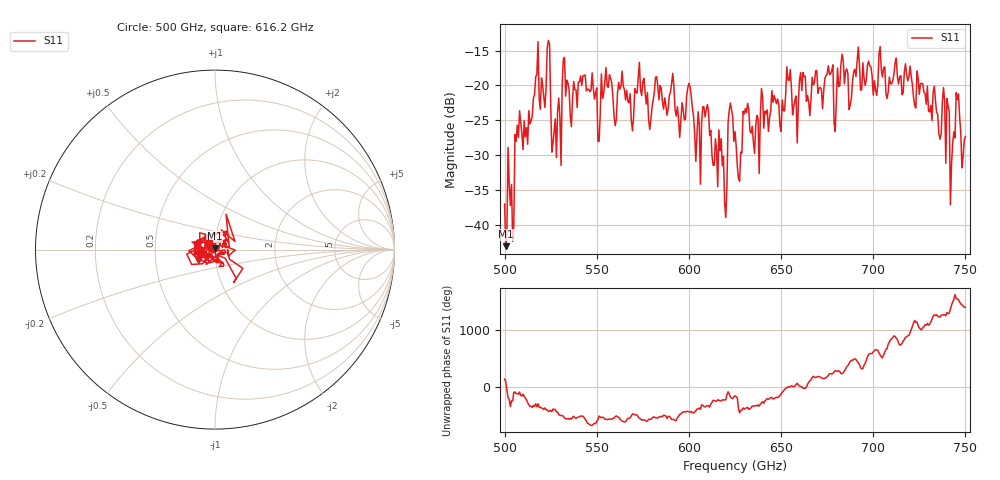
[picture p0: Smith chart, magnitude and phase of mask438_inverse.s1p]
!Created with skrf (http://scikit-rf.org).
# GHz S MA R 50.0
!freq magS11 angS11
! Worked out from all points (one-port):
!   401 points, 500 GHz to 750 GHz, reference 50 ohm
!   lowest |S11| = -43.1 dB at 500.6 GHz (marker M1), VSWR 1.01, Z = 50 + j0.699 ohm
!   |S11| at or under -10 dB: start of sweep to end of sweep
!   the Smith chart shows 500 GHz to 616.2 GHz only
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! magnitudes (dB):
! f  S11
! 500 GHz  -37.0
! 500.6 GHz  -43.1
! 516.9 GHz  -18.8
! 523.8 GHz  -13.5
! 526.9 GHz  -26.5
! 531.2 GHz  -19.5
! 562.5 GHz  -20.5
! 579.4 GHz  -24.9
! 590.6 GHz  -19.7
! 593.8 GHz  -23.1
! 600 GHz  -19.7
! 605 GHz  -23.8
! 609.4 GHz  -23.6
! 619.4 GHz  -37.0
! 622.5 GHz  -22.5
! 625 GHz  -26.6
! 627.5 GHz  -33.8
! 630.6 GHz  -23.3
! 636.9 GHz  -24.3
! 656.2 GHz  -24.2
! 683.8 GHz  -16.6
! 687.5 GHz  -22.8
! 691.2 GHz  -16.6
! 718.8 GHz  -19.3
! 739.4 GHz  -31.2
! 743.1 GHz  -28.2
! 745.6 GHz  -22.0
! 750 GHz  -27.3
